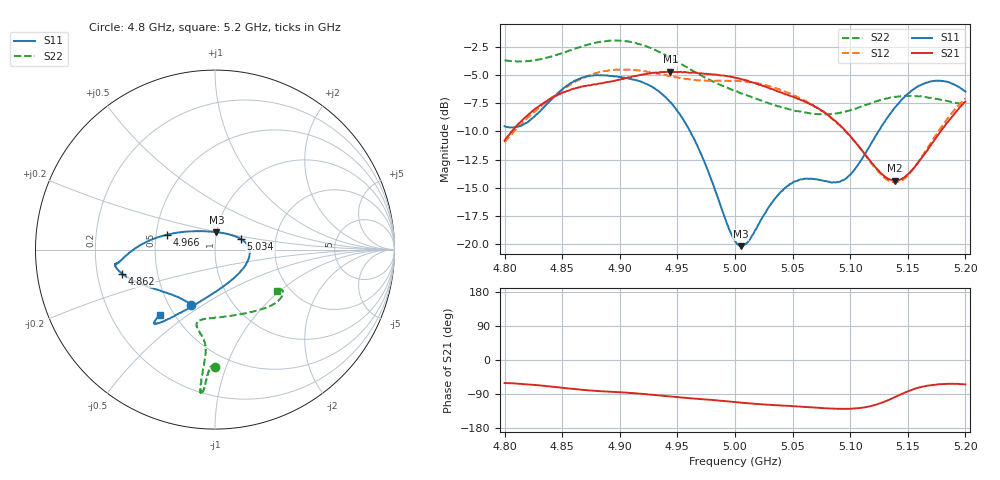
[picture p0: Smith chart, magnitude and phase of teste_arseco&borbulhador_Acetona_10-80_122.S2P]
! Network Analyzer HP8722D
! Hewlett-Packard
! Data name: Linha & Wilkinson
! Saver's name: Rodrigo Anjos
! Comments: Teste da utilização de aquisição
! continua pelo VNA HP8722D
! Time and date: 17/4/2025 15:22
!  Frequency  S11  S21  S12  S22
# HZ  S  MA R 50
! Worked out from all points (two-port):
!   401 points, 4.8 GHz to 5.2 GHz, reference 50 ohm
!   highest |S21| = -4.67 dB at 4.944 GHz (marker M1); lowest = -14.4 dB at 5.139 GHz (marker M2)
!   |S21| within 3 dB of the highest: 4.831 GHz to 5.067 GHz (236.5 MHz wide, 4.78 % of centre); 5.196855 GHz to end of sweep
!   lowest |S11| = -20.2 dB at 5.005 GHz (marker M3), VSWR 1.22, Z = 49.8 + j9.78 ohm
!   |S11| at or under -10 dB: 4.961 GHz to 5.124 GHz (163.4 MHz wide, 3.24 % of centre)
!   |S22| runs from -8.5 to -1.9 dB; largest |S21 - S12| = 0.88
!   S11 on the Smith chart (normalised r, x): 4.8 GHz: 0.65, -0.45; 4.862 GHz: 0.31, -0.12; 4.966 GHz: 0.57, +0.10; 5.034 GHz: 1.33, +0.16; 5.2 GHz: 0.42, -0.39
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4.8e9  0.3335 -113.1  0.2878 -60.9  0.2835 -175.1  0.6563 -90.2
4.819e9  0.3457 -133.0  0.3696 -64.1  0.3594 -173.7  0.6521 -91.8
4.862e9  0.535 -165.5  0.494 -77.1  0.5294 -176.9  0.7427 -94.1
4.867e9  0.5487 -167.4  0.5003 -78.5  0.5447 -177.9  0.7568 -94.2
4.899e9  0.5533 -172.0  0.5379 -85.1  0.5967 175.5  0.8026 -95.5
4.934e9  0.4769 -177.9  0.5793 -93.5  0.5718 171.7  0.7159 -95.9
4.944e9  0.4266 177.5  0.5841 -96.3  0.556 171.8  0.6733 -95.7
4.966e9  0.2819 163.0  0.577 -102.0  0.5354 173.8  0.5786 -95.1
5e9  0.103 102.6  0.5492 -111.2  0.5319 175.9  0.4797 -99.3
5.005e9  0.09747 85.4  0.5419 -112.5  0.5289 176.1  0.4677 -100.6
5.012e9  0.1032 62.4  0.5291 -114.1  0.5252 175.9  0.4545 -101.9
5.034e9  0.1571 21.8  0.4838 -119.1  0.4964 174.7  0.4147 -103.6
5.05e9  0.187 5.3  0.4529 -121.9  0.4599 173.9  0.3944 -99.6
5.067e9  0.1946 -13.0  0.4143 -125.1  0.4177 173.4  0.3795 -90.5
5.086e9  0.1879 -43.1  0.3555 -128.4  0.3536 173.4  0.3795 -76.1
5.098e9  0.1985 -67.8  0.3098 -128.7  0.3086 174.6  0.3899 -66.3
5.134e9  0.3751 -116.1  0.1937 -104.6  0.19 -157.2  0.4465 -42.9
5.139e9  0.4053 -119.2  0.1911 -97.8  0.1878 -149.4  0.4511 -40.7
5.151e9  0.4698 -124.2  0.2056 -81.5  0.2042 -131.0  0.4557 -36.4
5.17e9  0.5286 -128.6  0.2746 -66.4  0.2812 -112.5  0.4465 -32.0
5.185e9  0.5247 -130.0  0.3495 -63.1  0.3638 -107.2  0.4316 -31.1
5.2e9  0.4755 -130.3  0.4296 -64.4  0.4436 -106.6  0.4157 -33.4
